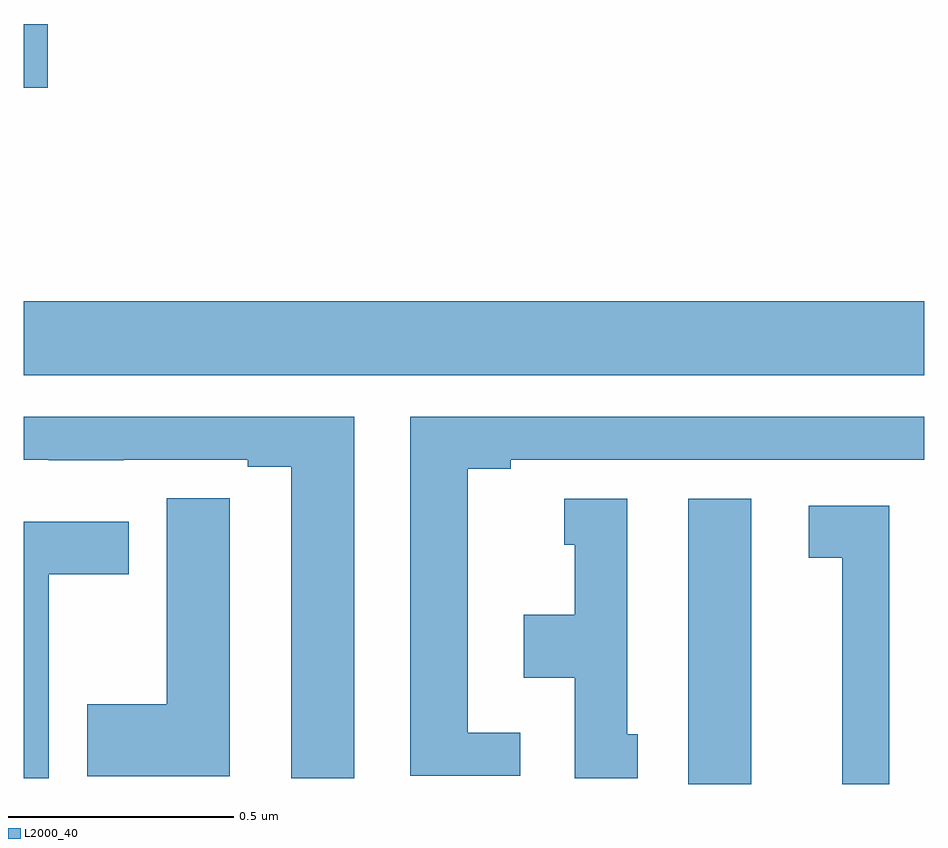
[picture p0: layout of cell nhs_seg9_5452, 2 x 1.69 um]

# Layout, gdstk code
import gdstk
lib = gdstk.Library(unit=1e-6, precision=1e-09)
def R(c, l, rs):  # rectangles x0, y0, x1, y1
    for r in rs: c.add(gdstk.rectangle(r[:2], r[2:], *l))
def P(c, l, *ps):  # polygons
    for p in ps: c.add(gdstk.Polygon(p, *l))
L2000_40 = (2000, 40)

nhs_seg9_5452 = lib.new_cell('nhs_seg9_5452')
R(nhs_seg9_5452, L2000_40, [(180.476,1207.5,180.616,1208.134), (179,1208.408,181,1208.572), (179,1209.046,179.053,1209.188)])
P(nhs_seg9_5452, L2000_40, [(179.734,1208.316),(179,1208.316),(179,1208.22),(179.056,1208.22),(179.056,1208.219),(179.222,1208.219),(179.222,1208.22),(179.498,1208.22),(179.498,1208.205),(179.594,1208.205),(179.594,1207.513),(179.734,1207.513)],
  [(180.103,1207.614),(179.986,1207.614),(179.986,1208.2),(180.082,1208.2),(180.082,1208.22),(181,1208.22),(181,1208.316),(179.858,1208.316),(179.858,1207.518),(180.103,1207.518)],
  [(179.458,1208.027),(179.457,1208.027),(179.457,1208.135),(179.318,1208.135),(179.318,1207.677),(179.141,1207.677),(179.141,1207.517),(179.458,1207.517)],
  [(180.364,1207.611),(180.34,1207.611),(180.34,1208.134),(180.2,1208.134),(180.2,1208.031),(180.224,1208.031),(180.224,1207.876),(180.11,1207.876),(180.11,1207.736),(180.224,1207.736),(180.224,1207.513),(180.364,1207.513)],
  [(180.922,1208.118),(180.744,1208.118),(180.744,1208.002),(180.818,1208.002),(180.818,1207.5),(180.922,1207.5)],
  [(179.056,1207.966),(179.233,1207.966),(179.233,1208.082),(179,1208.082),(179,1207.513),(179.056,1207.513)])

lib.write_gds('nhs_seg9_5452.gds')
